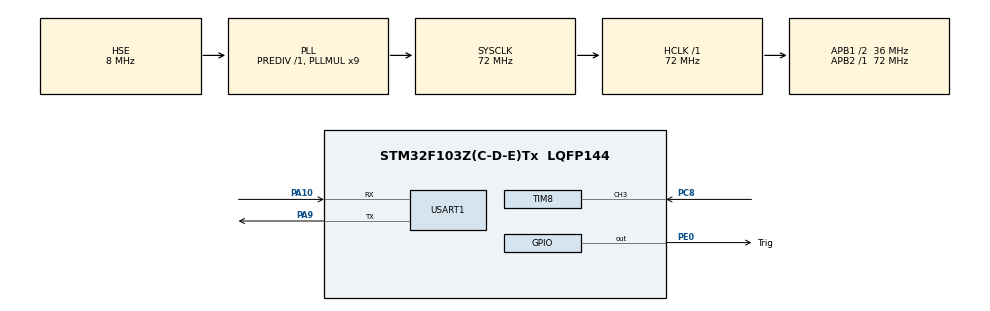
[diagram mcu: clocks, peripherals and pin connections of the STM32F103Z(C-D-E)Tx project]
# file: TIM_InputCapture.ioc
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Mcu.Family=STM32F1
Mcu.Name=STM32F103Z(C-D-E)Tx
Mcu.Package=LQFP144
NVIC.PriorityGroup=NVIC_PRIORITYGROUP_4
NVIC.TIM8_CC_IRQn=true\:0\:0\:false\:false\:true\:true\:true\:true
OSC_IN.Mode=HSE-External-Oscillator
OSC_IN.Signal=RCC_OSC_IN
OSC_OUT.Mode=HSE-External-Oscillator
OSC_OUT.Signal=RCC_OSC_OUT
PA10.Mode=Asynchronous
PA10.Signal=USART1_RX
PA13.Mode=Serial_Wire
PA13.Signal=SYS_JTMS-SWDIO
PA14.Mode=Serial_Wire
PA14.Signal=SYS_JTCK-SWCLK
PA9.Mode=Asynchronous
PA9.Signal=USART1_TX
PC8.Signal=S_TIM8_CH3
PE0.GPIO_Label=Trig
PE0.Signal=GPIO_Output
PE13.Signal=S_TIM1_CH3
ProjectManager.HeapSize=0x200
ProjectManager.StackSize=0x400
ProjectManager.TargetToolchain=MDK-ARM V5.32
RCC.AHBFreq_Value=72000000
RCC.APB1CLKDivider=RCC_HCLK_DIV2
RCC.APB1Freq_Value=36000000
RCC.APB1TimFreq_Value=72000000
RCC.APB2Freq_Value=72000000
RCC.APB2TimFreq_Value=72000000
RCC.HCLKFreq_Value=72000000
RCC.PLLMUL=RCC_PLL_MUL9
RCC.PLLSourceVirtual=RCC_PLLSOURCE_HSE
RCC.SYSCLKFreq_VALUE=72000000
RCC.SYSCLKSource=RCC_SYSCLKSOURCE_PLLCLK
RCC.USBFreq_Value=72000000
SH.S_TIM1_CH3.0=TIM1_CH3
SH.S_TIM8_CH3.0=TIM8_CH3,Input_Capture3_from_TI3
TIM8.Channel-Input_Capture3_from_TI3=TIM_CHANNEL_3
TIM8.Channel-Input_Capture4_from_TI3_63=TIM_CHANNEL_4
TIM8.ICPolarity_CH4=TIM_INPUTCHANNELPOLARITY_FALLING
TIM8.Prescaler=72-1
USART1.VirtualMode=VM_ASYNC
VP_TIM8_VS_ClockSourceINT.Mode=Internal
VP_TIM8_VS_indirect_ch3.Mode=Input_Capture4_from_TI3_63
board=custom

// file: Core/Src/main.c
/* USER CODE BEGIN Header */
/**
  ******************************************************************************
  * @file           : main.c
  * @brief          : Main program body
  ******************************************************************************
  * @attention
  *
  * Copyright (c) 2025 STMicroelectronics.
  * All rights reserved.
  *
  * This software is licensed under terms that can be found in the LICENSE file
  * in the root directory of this software component.
  * If no LICENSE file comes with this software, it is provided AS-IS.
  *
  ******************************************************************************
  */
/* USER CODE END Header */
#include "main.h"
#include "tim.h"
#include "usart.h"
#include "gpio.h"

/* USER CODE BEGIN Includes */
#include <stdio.h>
/* USER CODE END Includes */

/* USER CODE BEGIN PTD */
int fputc(int ch,FILE*f)
{
	HAL_UART_Transmit(&huart1,(uint8_t*)&ch,1,0xffff);
	return ch;
}
int fgetc(FILE*f)
{
	uint8_t ch=0;
	HAL_UART_Receive(&huart1,&ch,1,0xffff);
	return ch;
}

/* USER CODE END PTD */

void SystemClock_Config(void);

/* USER CODE BEGIN 0 */
//int upEdge=0;
//int downEdge=0;
float distance=0;
char message[20]="";
uint8_t recever_data [1];
//void HAL_TIM_IC_CaptureCallback(TIM_HandleTypeDef *htim){
//		if(htim==&htim8&&htim->Channel==HAL_TIM_ACTIVE_CHANNEL_4){
//			 upEdge =HAL_TIM_ReadCapturedValue(htim,TIM_CHANNEL_3);
//			 downEdge =HAL_TIM_ReadCapturedValue(htim,TIM_CHANNEL_4);
//				//捕获后需手动清除中断标志，否则可能重复计数（中断清除函数）
//			 __HAL_TIM_CLEAR_FLAG(htim, TIM_FLAG_CC3 | TIM_FLAG_CC4);
//				//处理溢出
//			 float edige;
//			 static uint32_t overflow_count = 0;
//			 if (downEdge < upEdge) {
//					 edige = (0xFFFF - upEdge) + downEdge + (overflow_count * 0x10000);
//				} else {
//					 edige = downEdge - upEdge;
//				}

//			 sprintf(message,"edige:%.2f   \r\n",edige);
//			 HAL_UART_Transmit(&huart1,(uint8_t *)message,sizeof(message),0xff);
//			 distance=(edige*0.034)/2;
//		 }
//}
// 初始化时启动上升沿捕获
/*void Inputcapture_Init(void) {
    HAL_TIM_IC_Start_IT(&htim1, TIM_CHANNEL_1);
    __HAL_TIM_SET_CAPTUREPOLARITY(&htim1, TIM_CHANNEL_1, TIM_INPUTCHANNELPOLARITY_RISING);
}

// 输入捕获中断回调
void HAL_TIM_IC_CaptureCallback(TIM_HandleTypeDef *htim) {
    static uint32_t t1 = 0, t2 = 0;

    if (htim->Instance == TIM1) {
        if (htim->Channel == HAL_TIM_ACTIVE_CHANNEL_1) {
            // 上升沿捕获
            t1 = HAL_TIM_ReadCapturedValue(htim, TIM_CHANNEL_1);
            // 切换为下降沿捕获
            __HAL_TIM_SET_CAPTUREPOLARITY(htim, TIM_CHANNEL_1, TIM_INPUTCHANNELPOLARITY_FALLING);
        } else if (htim->Channel == HAL_TIM_ACTIVE_CHANNEL_2) {
            // 下降沿捕获
            t2 = HAL_TIM_ReadCapturedValue(htim, TIM_CHANNEL_2);
            // 计算时间差并转换为距离
            uint32_t delta = t2 - t1;
            distance = (delta * 0.034) / 2; // 单位：厘米
            // 切换回上升沿捕获，准备下一次测量
            __HAL_TIM_SET_CAPTUREPOLARITY(htim, TIM_CHANNEL_1, TIM_INPUTCHANNELPOLARITY_RISING);
        }
    }
}*/
//// 启动输入捕获中断
//HAL_TIM_IC_Start_IT(&htim8, TIM_CHANNEL_4);

// 输入捕获中断回调函数
void HAL_TIM_IC_CaptureCallback(TIM_HandleTypeDef *htim) {
    if (htim->Instance == TIM8) {
        if (htim->Channel == HAL_TIM_ACTIVE_CHANNEL_4) {
            // 处理上升沿/下降沿捕获
            static uint32_t rise_time = 0, fall_time = 0;
            if (__HAL_TIM_GET_CAPTUREPOLARITY(htim, TIM_CHANNEL_4) == TIM_INPUTCHANNELPOLARITY_RISING) {
                rise_time = HAL_TIM_ReadCapturedValue(htim, TIM_CHANNEL_4);
                __HAL_TIM_SET_CAPTUREPOLARITY(htim, TIM_CHANNEL_4, TIM_INPUTCHANNELPOLARITY_FALLING);
            } else {
                fall_time = HAL_TIM_ReadCapturedValue(htim, TIM_CHANNEL_4);
                uint32_t pulse_width = fall_time - rise_time;
                distance = (pulse_width * 0.034) / 2; // 计算距离（单位：cm）
                __HAL_TIM_SET_CAPTUREPOLARITY(htim, TIM_CHANNEL_4, TIM_INPUTCHANNELPOLARITY_RISING);
            }
        }
    }
}
/* USER CODE END 0 */

int main(void)
{

  /* MCU Configuration--------------------------------------------------------*/

  /* Reset of all peripherals, Initializes the Flash interface and the Systick. */
  HAL_Init();

  /* Configure the system clock */
  SystemClock_Config();

  /* Initialize all configured peripherals */
  MX_GPIO_Init();
  MX_USART1_UART_Init();
  MX_TIM8_Init();
  /* USER CODE BEGIN 2 */
HAL_TIM_Base_Start(&htim8);
HAL_TIM_IC_Start_IT(&htim8,TIM_CHANNEL_3);
HAL_TIM_IC_Start_IT(&htim8,TIM_CHANNEL_4);

char message[20]="";
  /* USER CODE END 2 */

  /* Infinite loop */
  /* USER CODE BEGIN WHILE */
  while (1)
  {
//		HAL_GPIO_WritePin(Trig_GPIO_Port,Trig_Pin,GPIO_PIN_SET);
//		HAL_Delay(1);
//		HAL_GPIO_WritePin(Trig_GPIO_Port,Trig_Pin,GPIO_PIN_RESET);
//		__HAL_TIM_SET_COUNTER(&htim8,0);
//		HAL_Delay(20);
		// 触发超声波模块
HAL_GPIO_WritePin(GPIOE, GPIO_PIN_0, GPIO_PIN_SET);  // PE2 置高
delay_us(10);                                        // 维持 10μs
HAL_GPIO_WritePin(GPIOE, GPIO_PIN_0, GPIO_PIN_RESET); // PE2 置低

		sprintf(message,"distanse:%.2f   \r\n",distance);
		HAL_UART_Transmit(&huart1,(uint8_t *)message,sizeof(message),0xff);
		HAL_UART_Receive_IT(&huart1,recever_data,1);

    /* USER CODE END WHILE */

  }
}

void SystemClock_Config(void)
{
  RCC_OscInitTypeDef RCC_OscInitStruct = {0};
  RCC_ClkInitTypeDef RCC_ClkInitStruct = {0};

  /** Initializes the RCC Oscillators according to the specified parameters
  * in the RCC_OscInitTypeDef structure.
  */
  RCC_OscInitStruct.OscillatorType = RCC_OSCILLATORTYPE_HSE;
  RCC_OscInitStruct.HSEState = RCC_HSE_ON;
  RCC_OscInitStruct.HSEPredivValue = RCC_HSE_PREDIV_DIV1;
  RCC_OscInitStruct.HSIState = RCC_HSI_ON;
  RCC_OscInitStruct.PLL.PLLState = RCC_PLL_ON;
  RCC_OscInitStruct.PLL.PLLSource = RCC_PLLSOURCE_HSE;
  RCC_OscInitStruct.PLL.PLLMUL = RCC_PLL_MUL9;
  if (HAL_RCC_OscConfig(&RCC_OscInitStruct) != HAL_OK)
  {
    Error_Handler();
  }

  /** Initializes the CPU, AHB and APB buses clocks
  */
  RCC_ClkInitStruct.ClockType = RCC_CLOCKTYPE_HCLK|RCC_CLOCKTYPE_SYSCLK
                              |RCC_CLOCKTYPE_PCLK1|RCC_CLOCKTYPE_PCLK2;
  RCC_ClkInitStruct.SYSCLKSource = RCC_SYSCLKSOURCE_PLLCLK;
  RCC_ClkInitStruct.AHBCLKDivider = RCC_SYSCLK_DIV1;
  RCC_ClkInitStruct.APB1CLKDivider = RCC_HCLK_DIV2;
  RCC_ClkInitStruct.APB2CLKDivider = RCC_HCLK_DIV1;

  if (HAL_RCC_ClockConfig(&RCC_ClkInitStruct, FLASH_LATENCY_2) != HAL_OK)
  {
    Error_Handler();
  }
}

void Error_Handler(void)
{
  __disable_irq();
  while (1)
  {
  }
}
